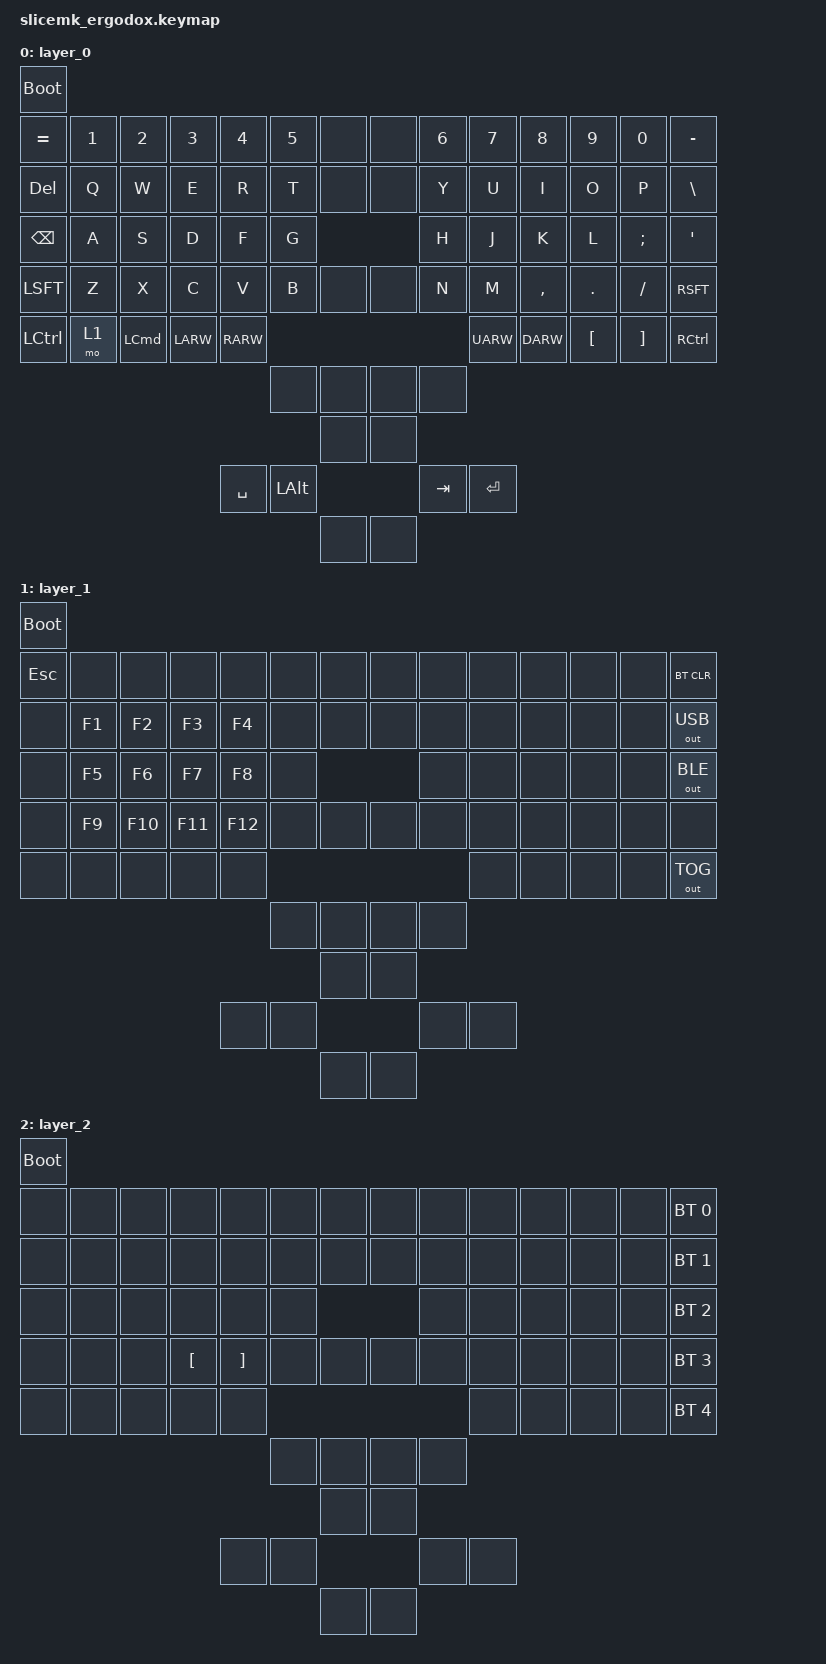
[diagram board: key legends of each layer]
#include <behaviors.dtsi>
#include <dt-bindings/zmk/bt.h>
#include <dt-bindings/zmk/keys.h>
#include <dt-bindings/zmk/outputs.h>

/ {
        keymap {
                compatible = "zmk,keymap";

                layer_0 {
                        bindings = <
    &bootloader
    &kp EQUAL  &kp NUM_1  &kp NUM_2  &kp NUM_3  &kp NUM_4  &kp NUM_5  &none      &none      &kp NUM_6  &kp NUM_7  &kp NUM_8  &kp NUM_9  &kp NUM_0  &kp MINUS
    &kp DEL    &kp Q      &kp W      &kp E      &kp R      &kp T      &none      &none      &kp Y      &kp U      &kp I      &kp O      &kp P      &kp BSLH
    &kp BKSP   &kp A      &kp S      &kp D      &kp F      &kp G                            &kp H      &kp J      &kp K      &kp L      &kp SCLN   &kp APOS
    &kp LSFT   &kp Z      &kp X      &kp C      &kp V      &kp B      &none      &none      &kp N      &kp M      &kp CMMA   &kp DOT    &kp FSLH   &kp RSFT
    &kp LCTL   &mo 1      &kp LCMD   &kp LARW   &kp RARW                                               &kp UARW   &kp DARW   &kp LBKT   &kp RBKT   &kp RCTL
                                                           &none      &none      &none      &none
                                                                      &none      &none
                                                &kp SPC    &kp LALT                            &kp TAB   &kp RET
                                                                      &none      &none
                        >;
                };

                layer_1 {
                        bindings = <
    &bootloader
    &kp ESC    &none      &none      &none      &none      &none      &none      &none      &none      &none      &none      &none      &none      &bt BT_CLR
    &none      &kp F1     &kp F2     &kp F3     &kp F4     &none      &none      &none      &none      &none      &none      &none      &none      &out OUT_USB
    &none      &kp F5     &kp F6     &kp F7     &kp F8     &none                            &none      &none      &none      &none      &none      &out OUT_BLE
    &none      &kp F9     &kp F10    &kp F11    &kp F12    &none      &none      &none      &none      &none      &none      &none      &none      &none
    &none      &none      &none      &none      &none                                                  &none      &none      &none      &none      &out OUT_TOG
                                                           &none      &none      &none      &none
                                                                      &none      &none
                                                &none      &none                            &none      &none
                                                                      &none      &none
                        >;
                };

                layer_2 {
                        bindings = <
    &bootloader
    &none      &none      &none      &none      &none      &none      &none      &none      &none      &none      &none      &none      &none      &bt BT_SEL 0
    &none      &none      &none      &none      &none      &none      &none      &none      &none      &none      &none      &none      &none      &bt BT_SEL 1
    &none      &none      &none      &none      &none      &none                            &none      &none      &none      &none      &none      &bt BT_SEL 2
    &none      &none      &none      &kp LBKT   &kp RBKT   &none      &none      &none      &none      &none      &none      &none      &none      &bt BT_SEL 3
    &none      &none      &none      &none      &none                                                  &none      &none      &none      &none      &bt BT_SEL 4
                                                           &none      &none      &none      &none
                                                                      &none      &none
                                                &none      &none                            &none      &none
                                                                      &none      &none
                        >;
                };

        };
};
